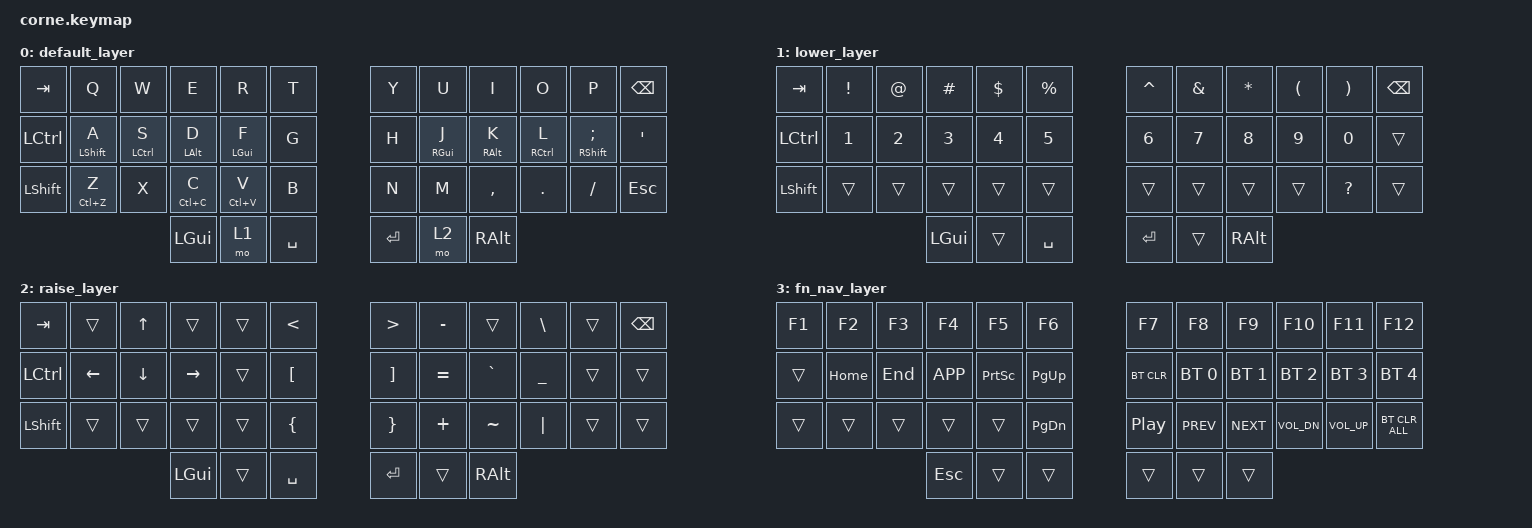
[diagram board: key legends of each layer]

/*
 * Copyright (c) 2020 The ZMK Contributors
 *
 * SPDX-License-Identifier: MIT
 */

#include <behaviors.dtsi>
#include <dt-bindings/zmk/keys.h>
#include <dt-bindings/zmk/bt.h>

/ {
	behaviors
	{
        	hm: homerow_mods
		{
        		compatible = "zmk,behavior-hold-tap";
            		#binding-cells = <2>;
            		tapping-term-ms = <200>;
           		quick-tap-ms = <200>;
			require-prior-idle-ms = <125>;
            		flavor = "tap-preferred";
            		bindings = <&kp>, <&kp>;
        	};
	};
	

    conditional_layers 
	{
        compatible = "zmk,conditional-layers";
       	tri_layer 
		{
            	if-layers = <1 2>;
           		then-layer = <3>;
        };
	};

        keymap {
                compatible = "zmk,keymap";

                default_layer {
// -----------------------------------------------------------------------------------------
// |  TAB     | Q 		|  W  	   |  E      |  R      |  T  |  	|  Y  |  U     |  I  	|  O 	   |  P 	| BKSP |
// | CTRL     | A/shift 	|  S/ctrl  |  D/alt  |  F/gui  |  G  |   	|  H  |  J/gui |  K/alt |  L/ctrl  |  ;/shift   |  '   |
// | SHFT     | Z/undo  	|  X 	   |  C/copy | V/paste |  B  |   	|  N  |  M     |  ,  	|  .  	   |  / 	| ESC  |
//                    			  	   | GUI     | LWR     | SPC |   	| ENT | RSE    |   ALT  |
                        bindings = <
   &kp TAB	&kp Q		&kp W 		&kp E		&kp R		&kp T 			&kp Y 	&kp U  		&kp I		&kp O   	&kp P    		&kp BSPC
   &kp LCTRL	&hm LSHIFT A	&hm LCTRL S 	&hm LALT D 	&hm LGUI F	&kp G			&kp H	&hm RGUI J	&hm RALT K	&hm RCTRL L 	&hm RSHIFT SEMI 	&kp SQT
   &kp LSHIFT	&hm LC(Z) Z	&kp X 		&hm LC(C) C	&hm LC(V) V	&kp B   		&kp N 	&kp M  		&kp COMMA	&kp DOT 	&kp FSLH 		&kp ESC
                     				&kp LGUI	&mo 1		&kp SPACE  		&kp RET	&mo 2		&kp RALT
                        >;
                };
                lower_layer {
// -----------------------------------------------------------------------------------------
// |  TAB |  !  |  @  |  #  |  $  |  %  |   |  ^  |  &  |  *  |  (  |  )  | BKSP |
// |      |  1  |  2  |  3  |  4  |  5  |   |  6  |  7  |  8  |  9  |  0  |      |
// | SHFT |     |     |     |     |     |   |     |     |     |     |  ?  |      |
//                    | GUI |     | SPC |   | ENT |     | ALT |
                        bindings = <
   &kp TAB    &kp EXCL	&kp AT	&kp HASH   &kp DLLR	&kp PRCNT      	&kp CARET   &kp AMPS &kp STAR &kp LPAR &kp RPAR  &kp BSPC
   &kp LCTRL  &kp N1	&kp N2 	&kp N3	   &kp N4 	&kp N5   	&kp N6 	    &kp N7   &kp N8   &kp N9   &kp N0    &trans
   &kp LSHIFT &trans    &trans	&trans     &trans       &trans         	&trans      &trans   &trans   &trans   &kp QMARK &trans
                                &kp LGUI   &trans       &kp SPACE     	&kp RET     &trans   &kp RALT
                        >;
                };

                raise_layer {
// -----------------------------------------------------------------------------------------
// |  TAB |     |  up |     |    |  <  |  	 |  >  |  -  |     |   \  |     | BKSP |
// | CTRL |left | down|right|    |  [  |  	 |  ]  |  =  |  `  |   _  |     |      |
// | SHFT |     |     |     | 	 |  {  |  	 |  }  |  +  |  ~  |  "|" |     |      |
//                    | GUI |    | SPC |  	 | ENT |     | ALT |
                        bindings = <
   &kp TAB   &trans   &kp UP	&trans	  &trans	&kp LT      		&kp GT		&kp MINUS	&trans		&kp BSLH 	&trans &kp BSPC
   &kp LCTRL &kp LEFT &kp DOWN	&kp RIGHT &trans	&kp LBKT    		&kp RBKT  	&kp EQUAL	&kp GRAVE	&kp UNDER 	&trans &trans
   &kp LSHIFT &trans   &trans	&trans    &trans 	&kp LBRC    		&kp RBRC  	&kp PLUS	&kp TILDE	&kp PIPE 	&trans &trans
                                &kp LGUI  &trans   	&kp SPACE   		&kp RET   	&trans		&kp RALT
                        >;
                };

                fn_nav_layer {
// -----------------------------------------------------------------------------------------
// |  F1  |  F2  |  F3 |  F4 |  F5 | F6  |   |    F7  |  F8  |  F9  |   F10 |  F11 | F12 |
// |      | home | end | app |PSCRN|pgup |   | bt clr | bt 0 | bt 1 | bt 2  | bt 3 | bt 4|
// |      |      |     |     |     |pgdwn|   |  play  | pre  | next |vol dwn|vol up|  bt clr all   |
//                     | esc |     |     |   |	      |      |      |
                        bindings = <
   &kp F1    &kp F2	&kp F3	&kp F4	   &kp F5    &kp F6      		&kp F7	    	  &kp F8       &kp F9	 	&kp F10			&kp F11			&kp F12
   &trans    &kp HOME   &kp END	&kp K_APP  &kp PSCRN &kp PG_UP    	&bt BT_CLR  	  &bt BT_SEL 0 &bt BT_SEL 1	&bt BT_SEL 2 	&bt BT_SEL 3 	&bt BT_SEL 4
   &trans    &trans     &trans	&trans     &trans    &kp PG_DN  	&kp C_PLAY_PAUSE  &kp C_PREV   &kp C_NEXT 	&kp C_VOL_DN 	&kp C_VOL_UP 	&bt BT_CLR_ALL
                                &kp ESC    &trans    &trans   	    	&trans      	  &trans    &trans
                        >;
                };
        };
};
